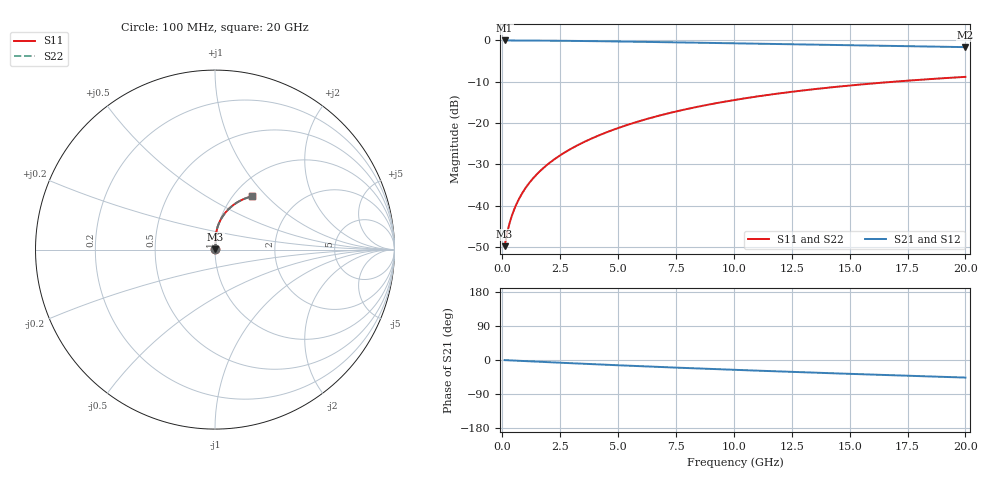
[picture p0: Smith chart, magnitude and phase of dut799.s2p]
! Touchstone file exported from HFSS 2024.1.0
!  File:  C:/UserFiles/LocalFiles/RDL_TSV_Batchsim/temp_RDL_bottom_799_1779861839.aedt
!  Generated:  02:06:36 PM May 27, 2026
!  Design:  RDL_bottom
!  Project:  temp_RDL_bottom_799_1779861839
!  Setup:  Setup1
!  Solution:  Sweep
! Variables:
!  dtsv = 10.80580581um
!  hbump = 3um
!  htsv = 88.55um
!  ldown = 671.82um
!  lrdl = 100um
!  p = 40
!  p1 = 55.19um
!  rhole = 1um
!  t = 450um
!  tdown = 3.59um
!  trdl = 3.915915916um
!  wdown = 27.56um
!  wrdl = 20um
# GHz S MA R 50.000000
! Terminal data exported
! Port[1] = RDL1_T1
! Port[2] = RDL1_T2
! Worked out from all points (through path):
!   200 points, 100 MHz to 20 GHz, reference 50 ohm
!   highest |S21| = -0.02 dB at 100 MHz (marker M1); lowest = -1.6 dB at 20 GHz (marker M2)
!   group delay of S21, straight-line fit = 6.36 ps
!   lowest |S11| = -49.8 dB at 100 MHz (marker M3), VSWR 1.01, Z = 50.3 + j0.183 ohm
!   |S11| at or under -10 dB: start of sweep to 16.95 GHz
!   |S22| runs from -49.8 to -8.8 dB; largest |S21 - S12| = 4.2e-15
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0.1  0.00322 34.5  0.9973 -0.3  0.9973 -0.3  0.00322 34.5
! Gamma 0 0 0 0
! Port Impedance 50 0 50 0
0.2  0.004519 51.1  0.9971 -0.6  0.9971 -0.6  0.004519 51.1
0.3  0.005919 59.6  0.9969 -0.9  0.9969 -0.9  0.005919 59.6
0.4  0.007333 65.0  0.9966 -1.2  0.9966 -1.2  0.007334 65.0
0.5  0.008765 68.8  0.9964 -1.5  0.9964 -1.5  0.008765 68.8
0.6  0.01022 71.8  0.9962 -1.8  0.9962 -1.8  0.01022 71.8
0.8  0.01318 75.9  0.9958 -2.3  0.9958 -2.3  0.01318 75.9
1.1  0.01776 79.7  0.995 -3.2  0.995 -3.2  0.01776 79.7
1.3  0.02088 81.4  0.9944 -3.8  0.9944 -3.8  0.02088 81.4
1.6  0.02564 83.2  0.9933 -4.6  0.9933 -4.6  0.02564 83.2
2.1  0.03381 85.1  0.991 -6.1  0.991 -6.1  0.03381 85.1
2.7  0.04399 86.4  0.9876 -7.7  0.9876 -7.7  0.04399 86.4
3.5  0.05821 87.0  0.9821 -9.9  0.9821 -9.9  0.05821 87.0
4.2  0.07123 87.0  0.9766 -11.8  0.9766 -11.8  0.07123 87.0
5  0.0867 86.4  0.9697 -13.9  0.9697 -13.9  0.0867 86.4
6.8  0.1231 83.8  0.9529 -18.4  0.9529 -18.4  0.1231 83.8
8.4  0.1562 80.7  0.9372 -22.2  0.9372 -22.2  0.1562 80.7
10.1  0.1911 76.9  0.9206 -26.1  0.9206 -26.1  0.1911 76.9
11.7  0.2229 73.2  0.905 -29.6  0.905 -29.6  0.2229 73.2
13.4  0.2552 69.3  0.8887 -33.2  0.8887 -33.2  0.2552 69.3
16.7  0.3123 62.0  0.8577 -40.0  0.8577 -40.0  0.3123 62.0
20  0.3615 55.1  0.8279 -46.3  0.8279 -46.3  0.3615 55.1
